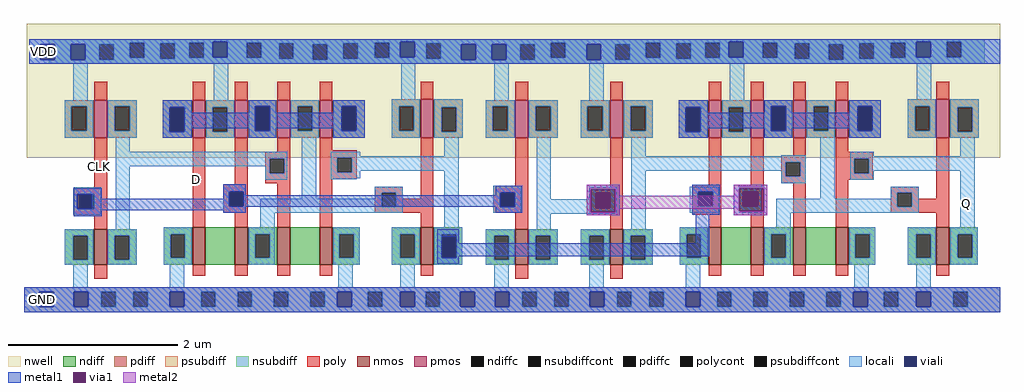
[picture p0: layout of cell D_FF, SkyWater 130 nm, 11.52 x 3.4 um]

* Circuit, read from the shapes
.subckt D_FF VDD GND D CLK Q
XM1 n1 CLK GND GND sky130_fd_pr__nfet_01v8 w=0.42 l=0.15
XM2 n2 D GND GND sky130_fd_pr__nfet_01v8 w=0.44 l=0.15
XM3 n3 CLK n2 GND sky130_fd_pr__nfet_01v8 w=0.44 l=0.15
XM4 n4 n1 n3 GND sky130_fd_pr__nfet_01v8 w=0.44 l=0.15
XM5 GND n5 n4 GND sky130_fd_pr__nfet_01v8 w=0.44 l=0.15
XM6 n5 n3 GND GND sky130_fd_pr__nfet_01v8 w=0.44 l=0.15
XM7 n6 CLK GND GND sky130_fd_pr__nfet_01v8 w=0.42 l=0.15
XM8 n7 n6 GND GND sky130_fd_pr__nfet_01v8 w=0.42 l=0.15
XM9 n8 n5 GND GND sky130_fd_pr__nfet_01v8 w=0.44 l=0.15
XM10 n9 n6 n8 GND sky130_fd_pr__nfet_01v8 w=0.44 l=0.15
XM11 n10 n7 n9 GND sky130_fd_pr__nfet_01v8 w=0.44 l=0.15
XM12 GND Q n10 GND sky130_fd_pr__nfet_01v8 w=0.44 l=0.15
XM13 Q n9 GND GND sky130_fd_pr__nfet_01v8 w=0.44 l=0.15
XM14 n1 CLK VDD VDD sky130_fd_pr__pfet_01v8 w=0.44 l=0.15
XM15 VDD D n11 VDD sky130_fd_pr__pfet_01v8 w=0.44 l=0.15
XM16 n11 CLK VDD VDD sky130_fd_pr__pfet_01v8 w=0.44 l=0.15
XM17 n3 n1 n11 VDD sky130_fd_pr__pfet_01v8 w=0.44 l=0.15
XM18 n11 n5 n3 VDD sky130_fd_pr__pfet_01v8 w=0.44 l=0.15
XM19 n5 n3 VDD VDD sky130_fd_pr__pfet_01v8 w=0.45 l=0.15
XM20 n6 CLK VDD VDD sky130_fd_pr__pfet_01v8 w=0.44 l=0.15
XM21 n7 n6 VDD VDD sky130_fd_pr__pfet_01v8 w=0.44 l=0.15
XM22 VDD n5 n12 VDD sky130_fd_pr__pfet_01v8 w=0.44 l=0.15
XM23 n12 n6 VDD VDD sky130_fd_pr__pfet_01v8 w=0.44 l=0.15
XM24 n9 n7 n12 VDD sky130_fd_pr__pfet_01v8 w=0.44 l=0.15
XM25 n12 Q n9 VDD sky130_fd_pr__pfet_01v8 w=0.44 l=0.15
XM26 Q n9 VDD VDD sky130_fd_pr__pfet_01v8 w=0.45 l=0.15
.ends

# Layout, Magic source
magic

tech sky130A


<< nwell >>

rect -98 -15 1051 143

<< nmos >>

rect -18 -141 -3 -99

rect 98 -141 113 -97

rect 148 -141 163 -97

rect 198 -141 213 -97

rect 248 -141 263 -97

rect 367 -141 382 -97

rect 479 -141 494 -99

rect 591 -141 606 -99

rect 707 -141 722 -97

rect 757 -141 772 -97

rect 807 -141 822 -97

rect 857 -141 872 -97

rect 976 -141 991 -97

<< pmos >>

rect -18 9 -3 53

rect 98 9 113 53

rect 148 9 163 53

rect 198 9 213 53

rect 248 9 263 53

rect 367 9 382 54

rect 479 9 494 53

rect 591 9 606 53

rect 707 9 722 53

rect 757 9 772 53

rect 807 9 822 53

rect 857 9 872 53

rect 976 9 991 54

<< ndiff >>

rect -53 -107 -18 -99

rect -53 -135 -43 -107

rect -26 -135 -18 -107

rect -53 -141 -18 -135

rect -3 -107 32 -99

rect -3 -135 6 -107

rect 23 -135 32 -107

rect -3 -141 32 -135

rect 64 -105 98 -97

rect 64 -133 72 -105

rect 89 -133 98 -105

rect 64 -141 98 -133

rect 113 -141 148 -97

rect 163 -105 198 -97

rect 163 -133 172 -105

rect 189 -133 198 -105

rect 163 -141 198 -133

rect 213 -141 248 -97

rect 263 -105 295 -97

rect 263 -133 271 -105

rect 288 -133 295 -105

rect 263 -141 295 -133

rect 333 -105 367 -97

rect 333 -133 343 -105

rect 360 -133 367 -105

rect 333 -141 367 -133

rect 382 -105 416 -97

rect 382 -133 392 -105

rect 409 -133 416 -105

rect 382 -141 416 -133

rect 444 -107 479 -99

rect 444 -135 454 -107

rect 471 -135 479 -107

rect 444 -141 479 -135

rect 494 -107 529 -99

rect 494 -135 503 -107

rect 520 -135 529 -107

rect 494 -141 529 -135

rect 556 -107 591 -99

rect 556 -135 566 -107

rect 583 -135 591 -107

rect 556 -141 591 -135

rect 606 -107 641 -99

rect 606 -135 615 -107

rect 632 -135 641 -107

rect 606 -141 641 -135

rect 673 -105 707 -97

rect 673 -133 681 -105

rect 698 -133 707 -105

rect 673 -141 707 -133

rect 722 -141 757 -97

rect 772 -105 807 -97

rect 772 -133 781 -105

rect 798 -133 807 -105

rect 772 -141 807 -133

rect 822 -141 857 -97

rect 872 -105 904 -97

rect 872 -133 880 -105

rect 897 -133 904 -105

rect 872 -141 904 -133

rect 942 -105 976 -97

rect 942 -133 952 -105

rect 969 -133 976 -105

rect 942 -141 976 -133

rect 991 -105 1025 -97

rect 991 -133 1001 -105

rect 1018 -133 1025 -105

rect 991 -141 1025 -133

<< pdiff >>

rect -53 46 -18 53

rect -53 17 -45 46

rect -27 17 -18 46

rect -53 9 -18 17

rect -3 46 32 53

rect -3 17 6 46

rect 24 17 32 46

rect -3 9 32 17

rect 63 45 98 53

rect 63 16 71 45

rect 89 16 98 45

rect 63 9 98 16

rect 113 45 148 53

rect 113 16 122 45

rect 139 16 148 45

rect 113 9 148 16

rect 163 46 198 53

rect 163 17 172 46

rect 189 17 198 46

rect 163 9 198 17

rect 213 46 248 53

rect 213 17 222 46

rect 239 17 248 46

rect 213 9 248 17

rect 263 46 301 53

rect 263 17 274 46

rect 291 17 301 46

rect 263 9 301 17

rect 333 46 367 54

rect 333 17 342 46

rect 359 17 367 46

rect 333 9 367 17

rect 382 45 417 54

rect 382 16 392 45

rect 409 16 417 45

rect 382 9 417 16

rect 444 46 479 53

rect 444 17 452 46

rect 470 17 479 46

rect 444 9 479 17

rect 494 46 529 53

rect 494 17 503 46

rect 521 17 529 46

rect 494 9 529 17

rect 556 46 591 53

rect 556 17 564 46

rect 582 17 591 46

rect 556 9 591 17

rect 606 46 641 53

rect 606 17 615 46

rect 633 17 641 46

rect 606 9 641 17

rect 672 45 707 53

rect 672 16 680 45

rect 698 16 707 45

rect 672 9 707 16

rect 722 45 757 53

rect 722 16 731 45

rect 748 16 757 45

rect 722 9 757 16

rect 772 46 807 53

rect 772 17 781 46

rect 798 17 807 46

rect 772 9 807 17

rect 822 46 857 53

rect 822 17 831 46

rect 848 17 857 46

rect 822 9 857 17

rect 872 46 910 53

rect 872 17 883 46

rect 900 17 910 46

rect 872 9 910 17

rect 942 46 976 54

rect 942 17 951 46

rect 968 17 976 46

rect 942 9 976 17

rect 991 45 1026 54

rect 991 16 1001 45

rect 1018 16 1026 45

rect 991 9 1026 16

<< ndiffc >>

rect -43 -135 -26 -107

rect 6 -135 23 -107

rect 72 -133 89 -105

rect 172 -133 189 -105

rect 271 -133 288 -105

rect 343 -133 360 -105

rect 392 -133 409 -105

rect 454 -135 471 -107

rect 503 -135 520 -107

rect 566 -135 583 -107

rect 615 -135 632 -107

rect 681 -133 698 -105

rect 781 -133 798 -105

rect 880 -133 897 -105

rect 952 -133 969 -105

rect 1001 -133 1018 -105

<< pdiffc >>

rect -45 17 -27 46

rect 6 17 24 46

rect 71 16 89 45

rect 122 16 139 45

rect 172 17 189 46

rect 222 17 239 46

rect 274 17 291 46

rect 342 17 359 46

rect 392 16 409 45

rect 452 17 470 46

rect 503 17 521 46

rect 564 17 582 46

rect 615 17 633 46

rect 680 16 698 45

rect 731 16 748 45

rect 781 17 798 46

rect 831 17 848 46

rect 883 17 900 46

rect 951 17 968 46

rect 1001 16 1018 45

<< psubdiff >>

rect -101 -173 1051 -168

rect -101 -191 -10 -173

rect 7 -191 28 -173

rect 45 -191 108 -173

rect 125 -191 151 -173

rect 168 -191 194 -173

rect 211 -191 237 -173

rect 254 -191 305 -173

rect 322 -191 373 -173

rect 390 -191 487 -173

rect 504 -191 525 -173

rect 542 -191 599 -173

rect 616 -191 637 -173

rect 654 -191 717 -173

rect 734 -191 760 -173

rect 777 -191 803 -173

rect 820 -191 846 -173

rect 863 -191 914 -173

rect 931 -191 996 -173

rect 1013 -191 1051 -173

rect -101 -197 1051 -191

<< nsubdiff >>

rect -72 122 1033 125

rect -72 121 988 122

rect -72 119 24 121

rect -72 101 -12 119

rect 5 103 24 119

rect 41 120 94 121

rect 41 103 60 120

rect 5 102 60 103

rect 77 103 94 120

rect 111 103 162 121

rect 179 120 313 121

rect 179 103 200 120

rect 77 102 200 103

rect 217 119 276 120

rect 217 102 240 119

rect 5 101 240 102

rect 257 102 276 119

rect 293 103 313 120

rect 330 120 521 121

rect 330 103 374 120

rect 293 102 374 103

rect 391 119 521 120

rect 391 102 485 119

rect 257 101 485 102

rect 502 103 521 119

rect 538 119 633 121

rect 538 103 597 119

rect 502 101 597 103

rect 614 103 633 119

rect 650 120 703 121

rect 650 103 669 120

rect 614 102 669 103

rect 686 103 703 120

rect 720 103 771 121

rect 788 120 922 121

rect 788 103 809 120

rect 686 102 809 103

rect 826 119 885 120

rect 826 102 849 119

rect 614 101 849 102

rect 866 102 885 119

rect 902 103 922 120

rect 939 104 988 121

rect 1005 104 1033 122

rect 939 103 1033 104

rect 902 102 1033 103

rect 866 101 1033 102

rect -72 96 1033 101

<< psubdiffcont >>

rect -10 -191 7 -173

rect 28 -191 45 -173

rect 108 -191 125 -173

rect 151 -191 168 -173

rect 194 -191 211 -173

rect 237 -191 254 -173

rect 305 -191 322 -173

rect 373 -191 390 -173

rect 487 -191 504 -173

rect 525 -191 542 -173

rect 599 -191 616 -173

rect 637 -191 654 -173

rect 717 -191 734 -173

rect 760 -191 777 -173

rect 803 -191 820 -173

rect 846 -191 863 -173

rect 914 -191 931 -173

rect 996 -191 1013 -173

<< nsubdiffcont >>

rect -12 101 5 119

rect 24 103 41 121

rect 60 102 77 120

rect 94 103 111 121

rect 162 103 179 121

rect 200 102 217 120

rect 240 101 257 119

rect 276 102 293 120

rect 313 103 330 121

rect 374 102 391 120

rect 485 101 502 119

rect 521 103 538 121

rect 597 101 614 119

rect 633 103 650 121

rect 669 102 686 120

rect 703 103 720 121

rect 771 103 788 121

rect 809 102 826 120

rect 849 101 866 119

rect 885 102 902 120

rect 922 103 939 121

rect 988 104 1005 122

<< poly >>

rect -18 53 -3 75

rect 98 53 113 75

rect 148 53 163 75

rect 198 53 213 75

rect 248 53 263 75

rect 367 54 382 75

rect 479 53 494 75

rect 591 53 606 75

rect 707 53 722 75

rect 757 53 772 75

rect 807 53 822 75

rect 857 53 872 75

rect 976 54 991 75

rect -18 -51 -3 9

rect -43 -58 -3 -51

rect -43 -75 -35 -58

rect -18 -75 -3 -58

rect -43 -82 -3 -75

rect -42 -84 -3 -82

rect -18 -99 -3 -84

rect 98 -97 113 9

rect 148 -46 163 9

rect 198 -8 213 9

rect 184 -16 213 -8

rect 184 -33 189 -16

rect 206 -33 213 -16

rect 184 -45 213 -33

rect 134 -55 163 -46

rect 134 -72 141 -55

rect 158 -72 163 -55

rect 134 -80 163 -72

rect 148 -97 163 -80

rect 198 -97 213 -45

rect 248 -6 263 9

rect 248 -15 292 -6

rect 248 -32 269 -15

rect 286 -32 292 -15

rect 248 -40 292 -32

rect 248 -97 263 -40

rect 313 -56 346 -49

rect 313 -73 321 -56

rect 338 -63 346 -56

rect 367 -63 382 9

rect 479 -48 494 9

rect 338 -73 382 -63

rect 313 -80 382 -73

rect 453 -56 494 -48

rect 591 -49 606 9

rect 707 -47 722 9

rect 757 -47 772 9

rect 807 -12 822 9

rect 793 -20 822 -12

rect 793 -37 798 -20

rect 815 -37 822 -20

rect 793 -45 822 -37

rect 453 -73 461 -56

rect 478 -73 494 -56

rect 453 -80 494 -73

rect 367 -97 382 -80

rect 479 -99 494 -80

rect 566 -57 606 -49

rect 566 -74 574 -57

rect 591 -74 606 -57

rect 566 -81 606 -74

rect 591 -99 606 -81

rect 688 -56 722 -47

rect 688 -73 694 -56

rect 711 -73 722 -56

rect 688 -82 722 -73

rect 743 -55 772 -47

rect 743 -72 748 -55

rect 765 -72 772 -55

rect 743 -80 772 -72

rect 707 -97 722 -82

rect 757 -97 772 -80

rect 807 -97 822 -45

rect 857 -8 872 9

rect 857 -16 901 -8

rect 857 -33 879 -16

rect 896 -33 901 -16

rect 857 -41 901 -33

rect 857 -97 872 -41

rect 922 -56 955 -49

rect 922 -73 930 -56

rect 947 -63 955 -56

rect 976 -63 991 9

rect 947 -73 991 -63

rect 922 -80 991 -73

rect 976 -97 991 -80

rect -18 -158 -3 -141

rect 98 -154 113 -141

rect 148 -154 163 -141

rect 198 -154 213 -141

rect 248 -154 263 -141

rect 367 -154 382 -141

rect 479 -158 494 -141

rect 591 -158 606 -141

rect 707 -154 722 -141

rect 757 -154 772 -141

rect 807 -154 822 -141

rect 857 -154 872 -141

rect 976 -154 991 -141

<< polycont >>

rect -35 -75 -18 -58

rect 189 -33 206 -16

rect 141 -72 158 -55

rect 269 -32 286 -15

rect 321 -73 338 -56

rect 798 -37 815 -20

rect 461 -73 478 -56

rect 574 -74 591 -57

rect 694 -73 711 -56

rect 748 -72 765 -55

rect 879 -33 896 -16

rect 930 -73 947 -56

<< locali >>

rect -95 122 1051 125

rect -95 121 122 122

rect -95 119 24 121

rect -95 101 -82 119

rect -65 101 -46 119

rect -29 101 -12 119

rect 5 103 24 119

rect 41 120 94 121

rect 41 103 60 120

rect 5 102 60 103

rect 77 103 94 120

rect 111 104 122 121

rect 139 121 343 122

rect 139 104 162 121

rect 111 103 162 104

rect 179 120 313 121

rect 179 103 200 120

rect 77 102 200 103

rect 217 119 276 120

rect 217 102 240 119

rect 5 101 240 102

rect 257 102 276 119

rect 293 103 313 120

rect 330 104 343 121

rect 360 121 731 122

rect 360 120 521 121

rect 360 104 374 120

rect 330 103 374 104

rect 293 102 374 103

rect 391 119 521 120

rect 391 102 415 119

rect 257 101 415 102

rect 432 101 451 119

rect 468 101 485 119

rect 502 103 521 119

rect 538 119 633 121

rect 538 103 563 119

rect 502 101 563 103

rect 580 101 597 119

rect 614 103 633 119

rect 650 120 703 121

rect 650 103 669 120

rect 614 102 669 103

rect 686 103 703 120

rect 720 104 731 121

rect 748 121 952 122

rect 748 104 771 121

rect 720 103 771 104

rect 788 120 922 121

rect 788 103 809 120

rect 686 102 809 103

rect 826 119 885 120

rect 826 102 849 119

rect 614 101 849 102

rect 866 102 885 119

rect 902 103 922 120

rect 939 104 952 121

rect 969 104 988 122

rect 1005 104 1051 122

rect 939 103 1051 104

rect 902 102 1051 103

rect 866 101 1051 102

rect -95 96 1051 101

rect -43 53 -26 96

rect 123 53 140 96

rect 344 54 361 96

rect -53 46 -19 53

rect -53 17 -45 46

rect -27 17 -19 46

rect -53 9 -19 17

rect -2 46 32 53

rect -2 17 6 46

rect 24 17 32 46

rect -2 9 32 17

rect 63 45 97 53

rect 63 16 71 45

rect 89 16 97 45

rect 63 9 97 16

rect 114 45 147 53

rect 114 16 122 45

rect 139 16 147 45

rect 114 9 147 16

rect 164 46 197 53

rect 164 17 172 46

rect 189 17 197 46

rect 164 9 197 17

rect 214 46 247 53

rect 214 17 222 46

rect 239 17 247 46

rect 214 9 247 17

rect 264 46 301 53

rect 264 17 274 46

rect 291 17 301 46

rect 264 9 301 17

rect 333 46 366 54

rect 333 17 342 46

rect 359 17 366 46

rect 333 9 366 17

rect 383 45 417 54

rect 454 53 471 96

rect 566 53 583 96

rect 732 53 749 96

rect 953 54 970 96

rect 383 16 392 45

rect 409 16 417 45

rect 383 9 417 16

rect 444 46 478 53

rect 444 17 452 46

rect 470 17 478 46

rect 444 9 478 17

rect 495 46 529 53

rect 495 17 503 46

rect 521 17 529 46

rect 495 9 529 17

rect 556 46 590 53

rect 556 17 564 46

rect 582 17 590 46

rect 556 9 590 17

rect 607 46 641 53

rect 607 17 615 46

rect 633 17 641 46

rect 607 9 641 17

rect 672 45 706 53

rect 672 16 680 45

rect 698 16 706 45

rect 672 9 706 16

rect 723 45 756 53

rect 723 16 731 45

rect 748 16 756 45

rect 723 9 756 16

rect 773 46 806 53

rect 773 17 781 46

rect 798 17 806 46

rect 773 9 806 17

rect 823 46 856 53

rect 823 17 831 46

rect 848 17 856 46

rect 823 9 856 17

rect 873 46 910 53

rect 873 17 883 46

rect 900 17 910 46

rect 873 9 910 17

rect 942 46 975 54

rect 942 17 951 46

rect 968 17 975 46

rect 942 9 975 17

rect 992 45 1026 54

rect 992 16 1001 45

rect 1018 16 1026 45

rect 992 9 1026 16

rect 7 -8 24 9

rect 7 -16 210 -8

rect 7 -25 189 -16

rect -42 -51 -10 -50

rect -43 -58 -10 -51

rect -43 -75 -38 -58

rect -18 -75 -10 -58

rect -43 -82 -10 -75

rect 7 -99 24 -25

rect 184 -33 189 -25

rect 206 -33 210 -16

rect 184 -41 210 -33

rect 134 -55 161 -46

rect 134 -72 141 -55

rect 158 -72 161 -55

rect 227 -63 244 9

rect 261 -13 296 -8

rect 395 -13 412 9

rect 261 -15 412 -13

rect 261 -32 269 -15

rect 286 -30 412 -15

rect 286 -32 296 -30

rect 261 -39 296 -32

rect 261 -40 292 -39

rect 313 -56 346 -49

rect 313 -63 321 -56

rect 134 -80 161 -72

rect 178 -73 321 -63

rect 338 -73 346 -56

rect 178 -80 346 -73

rect 178 -97 195 -80

rect 395 -97 412 -30

rect 453 -56 486 -48

rect 453 -73 461 -56

rect 478 -73 486 -56

rect 453 -80 486 -73

rect 504 -64 521 9

rect 616 -13 633 9

rect 793 -13 822 -12

rect 616 -20 822 -13

rect 616 -30 798 -20

rect 566 -57 599 -49

rect 566 -64 574 -57

rect 504 -74 574 -64

rect 591 -74 599 -57

rect 504 -81 599 -74

rect -53 -107 -19 -99

rect -53 -135 -43 -107

rect -26 -135 -19 -107

rect -53 -141 -19 -135

rect -2 -107 32 -99

rect -2 -135 6 -107

rect 23 -135 32 -107

rect -2 -141 32 -135

rect 64 -105 97 -97

rect 64 -133 72 -105

rect 89 -133 97 -105

rect 64 -141 97 -133

rect 164 -105 195 -97

rect 164 -133 172 -105

rect 189 -133 195 -105

rect 164 -141 195 -133

rect 264 -105 295 -97

rect 264 -133 271 -105

rect 288 -133 295 -105

rect 264 -141 295 -133

rect 333 -105 366 -97

rect 333 -133 343 -105

rect 360 -133 366 -105

rect 333 -141 366 -133

rect 383 -105 416 -97

rect 504 -99 521 -81

rect 616 -99 633 -30

rect 793 -37 798 -30

rect 815 -37 822 -20

rect 793 -45 822 -37

rect 685 -55 719 -49

rect 685 -56 695 -55

rect 685 -73 694 -56

rect 712 -72 719 -55

rect 711 -73 719 -72

rect 685 -80 719 -73

rect 743 -55 770 -47

rect 743 -72 748 -55

rect 765 -72 770 -55

rect 839 -63 856 9

rect 874 -13 902 -8

rect 1004 -13 1021 9

rect 874 -16 1021 -13

rect 874 -33 879 -16

rect 896 -30 1021 -16

rect 896 -33 902 -30

rect 874 -41 902 -33

rect 922 -56 955 -49

rect 922 -63 930 -56

rect 743 -80 770 -72

rect 787 -73 930 -63

rect 947 -73 955 -56

rect 787 -80 955 -73

rect 787 -97 804 -80

rect 1004 -97 1021 -30

rect 383 -133 392 -105

rect 409 -133 416 -105

rect 383 -141 416 -133

rect 444 -107 478 -99

rect 444 -135 454 -107

rect 471 -135 478 -107

rect 444 -141 478 -135

rect 495 -107 529 -99

rect 495 -135 503 -107

rect 520 -135 529 -107

rect 495 -141 529 -135

rect 556 -107 590 -99

rect 556 -135 566 -107

rect 583 -135 590 -107

rect 556 -141 590 -135

rect 607 -107 641 -99

rect 607 -135 615 -107

rect 632 -135 641 -107

rect 607 -141 641 -135

rect 673 -105 706 -97

rect 673 -133 681 -105

rect 698 -133 706 -105

rect 673 -141 706 -133

rect 773 -105 804 -97

rect 773 -133 781 -105

rect 798 -133 804 -105

rect 773 -141 804 -133

rect 873 -105 904 -97

rect 873 -133 880 -105

rect 897 -133 904 -105

rect 873 -141 904 -133

rect 942 -105 975 -97

rect 942 -133 952 -105

rect 969 -133 975 -105

rect 942 -141 975 -133

rect 992 -105 1025 -97

rect 992 -133 1001 -105

rect 1018 -133 1025 -105

rect 992 -141 1025 -133

rect -43 -168 -26 -141

rect 71 -168 88 -141

rect 270 -168 287 -141

rect 343 -168 360 -141

rect 454 -168 471 -141

rect 566 -168 583 -141

rect 680 -168 697 -141

rect 879 -168 896 -141

rect 952 -168 969 -141

rect -101 -173 1051 -168

rect -101 -191 -83 -173

rect -66 -191 -42 -173

rect -25 -191 -10 -173

rect 7 -191 28 -173

rect 45 -191 71 -173

rect 88 -191 108 -173

rect 125 -191 151 -173

rect 168 -191 194 -173

rect 211 -191 237 -173

rect 254 -191 269 -173

rect 286 -191 305 -173

rect 322 -191 343 -173

rect 360 -191 373 -173

rect 390 -191 414 -173

rect 431 -191 455 -173

rect 472 -191 487 -173

rect 504 -191 525 -173

rect 542 -191 567 -173

rect 584 -191 599 -173

rect 616 -191 637 -173

rect 654 -191 680 -173

rect 697 -191 717 -173

rect 734 -191 760 -173

rect 777 -191 803 -173

rect 820 -191 846 -173

rect 863 -191 878 -173

rect 895 -191 914 -173

rect 931 -191 952 -173

rect 969 -191 996 -173

rect 1013 -191 1051 -173

rect -101 -197 1051 -191

<< viali >>

rect -82 101 -65 119

rect -46 101 -29 119

rect 122 104 139 122

rect 343 104 360 122

rect 415 101 432 119

rect 451 101 468 119

rect 563 101 580 119

rect 731 104 748 122

rect 952 104 969 122

rect 71 16 88 45

rect 172 17 189 46

rect 274 17 291 46

rect 680 16 697 45

rect 781 17 798 46

rect 883 17 900 46

rect -38 -75 -35 -58

rect -35 -75 -21 -58

rect 141 -72 158 -55

rect 461 -73 478 -56

rect 574 -74 591 -57

rect 695 -56 712 -55

rect 695 -72 711 -56

rect 711 -72 712 -56

rect 748 -72 765 -55

rect 392 -133 409 -108

rect -83 -191 -66 -173

rect -42 -191 -25 -173

rect 71 -191 88 -173

rect 269 -191 286 -173

rect 343 -191 360 -173

rect 414 -191 431 -173

rect 455 -191 472 -173

rect 567 -191 584 -173

rect 680 -191 697 -173

rect 878 -191 895 -173

rect 952 -191 969 -173

<< metal1 >>

rect -95 122 1051 125

rect -95 119 122 122

rect -95 101 -82 119

rect -65 101 -46 119

rect -29 104 122 119

rect 139 104 343 122

rect 360 119 731 122

rect 360 104 415 119

rect -29 101 415 104

rect 432 101 451 119

rect 468 101 563 119

rect 580 104 731 119

rect 748 104 952 122

rect 969 104 1051 122

rect 580 101 1051 104

rect -95 96 1051 101

rect 63 45 97 53

rect 63 16 71 45

rect 88 38 97 45

rect 164 46 197 53

rect 164 38 172 46

rect 88 20 172 38

rect 88 16 97 20

rect 63 9 97 16

rect 164 17 172 20

rect 189 38 197 46

rect 264 46 301 53

rect 264 38 274 46

rect 189 20 274 38

rect 189 17 197 20

rect 164 9 197 17

rect 264 17 274 20

rect 291 17 301 46

rect 264 9 301 17

rect 672 45 706 53

rect 672 16 680 45

rect 697 38 706 45

rect 773 46 806 53

rect 773 38 781 46

rect 697 20 781 38

rect 697 16 706 20

rect 672 9 706 16

rect 773 17 781 20

rect 798 38 806 46

rect 873 46 910 53

rect 873 38 883 46

rect 798 20 883 38

rect 798 17 806 20

rect 773 9 806 17

rect 873 17 883 20

rect 900 17 910 46

rect 873 9 910 17

rect -42 -58 -9 -51

rect -42 -75 -38 -58

rect -21 -63 -9 -58

rect 134 -55 161 -46

rect 134 -63 141 -55

rect -21 -72 141 -63

rect 158 -59 161 -55

rect 456 -56 487 -48

rect 456 -59 461 -56

rect 158 -72 461 -59

rect -21 -73 461 -72

rect 478 -73 487 -56

rect -21 -75 161 -73

rect -42 -77 161 -75

rect -42 -84 -9 -77

rect 134 -80 161 -77

rect 456 -80 487 -73

rect 563 -52 602 -47

rect 563 -79 568 -52

rect 597 -79 602 -52

rect 563 -83 602 -79

rect 688 -55 720 -47

rect 688 -72 695 -55

rect 712 -72 720 -55

rect 688 -82 720 -72

rect 737 -51 776 -47

rect 737 -78 743 -51

rect 772 -78 776 -51

rect 387 -108 412 -99

rect 387 -133 392 -108

rect 409 -116 412 -108

rect 692 -116 708 -82

rect 737 -83 776 -78

rect 409 -131 708 -116

rect 409 -133 412 -131

rect 387 -140 412 -133

rect -101 -173 1051 -168

rect -101 -191 -83 -173

rect -66 -191 -42 -173

rect -25 -191 71 -173

rect 88 -191 269 -173

rect 286 -191 343 -173

rect 360 -191 414 -173

rect 431 -191 455 -173

rect 472 -191 567 -173

rect 584 -191 680 -173

rect 697 -191 878 -173

rect 895 -191 952 -173

rect 969 -191 1051 -173

rect -101 -197 1051 -191

<< via1 >>

rect 568 -57 597 -52

rect 568 -74 574 -57

rect 574 -74 591 -57

rect 591 -74 597 -57

rect 568 -79 597 -74

rect 743 -55 772 -51

rect 743 -72 748 -55

rect 748 -72 765 -55

rect 765 -72 772 -55

rect 743 -78 772 -72

<< metal2 >>

rect 563 -52 602 -47

rect 563 -79 568 -52

rect 597 -60 602 -52

rect 737 -51 776 -47

rect 737 -60 743 -51

rect 597 -75 743 -60

rect 597 -79 602 -75

rect 563 -83 602 -79

rect 737 -78 743 -75

rect 772 -78 776 -51

rect 737 -83 776 -78

<< labels >>

flabel locali s -95 98 -61 122 0 FreeSans 80 0 0 0 VDD

port 0 nsew

flabel locali s -96 -194 -62 -170 0 FreeSans 80 0 0 0 GND

port 1 nsew

flabel poly s 86 -53 120 -29 0 FreeSans 80 0 0 0 D

port 2 nsew

flabel poly s -29 -37 5 -13 0 FreeSans 80 0 0 0 CLK

port 3 nsew

flabel locali s 995 -81 1029 -57 0 FreeSans 80 0 0 0 Q

port 4 nsew

<< end >>
